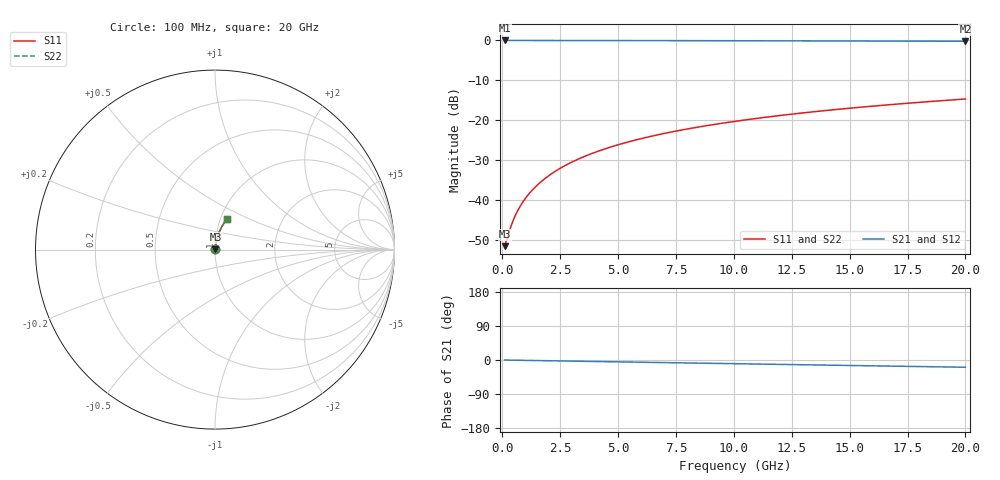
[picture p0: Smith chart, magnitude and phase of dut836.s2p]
! Touchstone file exported from HFSS 2026.1.0
!  File:  C:/ffzhzh/LocalFiles/Ansys_Project_Files/temp_train_BSMRDL_836_1783170315_43440.aedt
!  Generated:  09:06:26 PM Jul  4, 2026
!  Design:  BSMRDL
!  Project:  temp_train_BSMRDL_836_1783170315_43440
! Variables:
!  h_bsmrdl = 3.4um
!  h_ox = 20um
!  h_rdl = 5um
!  h_sub = 80um
!  h_tmrdl = 5um
!  h_tsv = 80um
!  h_via = 3um
!  l_bsmrdl = 268.65um
!  l_sub = 668.65um
!  l_tmrdl = 200um
!  m_sub = 200um
!  pitch = 27.85um
!  r_tsv = 6um
!  s_tmrdl = 10um
!  w_bsmrdl = 12.14um
!  w_sub = 500um
!  w_tmrdl = 12um
!  x_tsv_center1 = 206um
!  x_tsv_center2 = 486.79um
!  x_tsv_center3 = 698.79um
!  x_tsv_center4 = 979.58um
!  x_tsv_center5 = 1191.58um
!  x_tsv_center6 = 1472.37um
# GHz S MA R 50.000000
! Terminal data exported
! Port[1] = BSM_RDL1_1_T1
! Port[2] = BSM_RDL1_1_T2
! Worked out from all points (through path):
!   200 points, 100 MHz to 20 GHz, reference 50 ohm
!   highest |S21| = -0.02 dB at 100 MHz (marker M1); lowest = -0.2 dB at 20 GHz (marker M2)
!   group delay of S21, straight-line fit = 2.65 ps
!   lowest |S11| = -51.4 dB at 100 MHz (marker M3), VSWR 1.01, Z = 50.2 + j0.109 ohm
!   |S11| at or under -10 dB: start of sweep to end of sweep
!   |S22| runs from -51.4 to -14.7 dB; largest |S21 - S12| = 3.5e-15
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0.1  0.002679 23.8  0.9976 -0.1  0.9976 -0.1  0.002679 23.8
! Gamma 0 0 0 0
! Port Impedance 50 0 50 0
0.3  0.0041 51.3  0.9974 -0.3  0.9974 -0.3  0.0041 51.3
0.4  0.004983 58.0  0.9974 -0.4  0.9974 -0.4  0.004983 58.1
0.5  0.005898 62.6  0.9973 -0.5  0.9973 -0.5  0.005899 62.6
0.6  0.006829 65.9  0.9973 -0.6  0.9973 -0.6  0.006829 65.9
0.7  0.007767 68.4  0.9972 -0.7  0.9972 -0.7  0.007768 68.4
0.9  0.009661 72.0  0.9971 -0.9  0.9971 -0.9  0.009662 72.0
1.2  0.01253 75.3  0.997 -1.2  0.997 -1.2  0.01253 75.3
1.4  0.01446 76.7  0.9969 -1.4  0.9969 -1.4  0.01446 76.7
1.7  0.01737 78.2  0.9968 -1.7  0.9968 -1.7  0.01737 78.2
2.2  0.02225 79.7  0.9966 -2.2  0.9966 -2.2  0.02225 79.7
2.8  0.02812 80.6  0.9964 -2.8  0.9964 -2.8  0.02812 80.6
3.5  0.03497 80.9  0.996 -3.5  0.996 -3.5  0.03497 80.9
4.2  0.0418 80.9  0.9955 -4.2  0.9955 -4.2  0.0418 80.9
5  0.04956 80.6  0.9949 -4.9  0.9949 -4.9  0.04956 80.6
5.9  0.05824 80.1  0.9941 -5.8  0.9941 -5.8  0.05824 80.1
6.8  0.06684 79.5  0.9933 -6.7  0.9933 -6.7  0.06684 79.4
8.3  0.08102 78.3  0.9917 -8.1  0.9917 -8.1  0.08102 78.3
10.1  0.09777 76.8  0.9895 -9.9  0.9895 -9.9  0.09777 76.8
13.4  0.1278 74.0  0.9851 -13.0  0.9851 -13.0  0.1278 74.0
16.7  0.1569 71.1  0.98 -16.1  0.98 -16.1  0.1569 71.1
20  0.1851 68.3  0.9744 -19.1  0.9744 -19.1  0.1851 68.3
